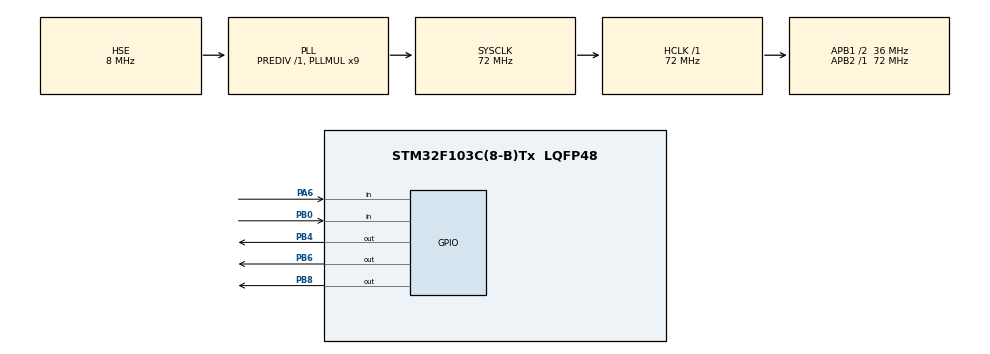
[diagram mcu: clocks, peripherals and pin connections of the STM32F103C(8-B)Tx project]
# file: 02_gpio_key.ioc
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Mcu.Family=STM32F1
Mcu.Name=STM32F103C(8-B)Tx
Mcu.Package=LQFP48
NVIC.PriorityGroup=NVIC_PRIORITYGROUP_4
PA13.Mode=Serial_Wire
PA13.Signal=SYS_JTMS-SWDIO
PA14.Mode=Serial_Wire
PA14.Signal=SYS_JTCK-SWCLK
PA6.GPIO_PuPd=GPIO_PULLUP
PA6.Signal=GPIO_Input
PB0.GPIO_PuPd=GPIO_PULLUP
PB0.Signal=GPIO_Input
PB4.PinState=GPIO_PIN_SET
PB4.Signal=GPIO_Output
PB6.PinState=GPIO_PIN_SET
PB6.Signal=GPIO_Output
PB8.PinState=GPIO_PIN_SET
PB8.Signal=GPIO_Output
PD0-OSC_IN.Mode=HSE-External-Oscillator
PD0-OSC_IN.Signal=RCC_OSC_IN
PD1-OSC_OUT.Mode=HSE-External-Oscillator
PD1-OSC_OUT.Signal=RCC_OSC_OUT
ProjectManager.HeapSize=0x200
ProjectManager.StackSize=0x400
ProjectManager.TargetToolchain=Makefile
RCC.AHBFreq_Value=72000000
RCC.APB1CLKDivider=RCC_HCLK_DIV2
RCC.APB1Freq_Value=36000000
RCC.APB1TimFreq_Value=72000000
RCC.APB2Freq_Value=72000000
RCC.APB2TimFreq_Value=72000000
RCC.HCLKFreq_Value=72000000
RCC.PLLMUL=RCC_PLL_MUL9
RCC.PLLSourceVirtual=RCC_PLLSOURCE_HSE
RCC.SYSCLKFreq_VALUE=72000000
RCC.SYSCLKSource=RCC_SYSCLKSOURCE_PLLCLK
RCC.USBFreq_Value=72000000
board=custom

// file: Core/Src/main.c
/* USER CODE BEGIN Header */
/**
  ******************************************************************************
  * @file           : main.c
  * @brief          : Main program body
  ******************************************************************************
  * @attention
  *
  * Copyright (c) 2026 STMicroelectronics.
  * All rights reserved.
  *
  * This software is licensed under terms that can be found in the LICENSE file
  * in the root directory of this software component.
  * If no LICENSE file comes with this software, it is provided AS-IS.
  *
  ******************************************************************************
  */
/* USER CODE END Header */
#include "main.h"
#include "gpio.h"

void SystemClock_Config(void);
/* USER CODE BEGIN PFP */
uint8_t Key_Nonblocking_Debounce_PA6(void);
uint8_t Key_Nonblocking_Debounce_PB0(void);
/* USER CODE END PFP */

int main(void)
{

  /* MCU Configuration--------------------------------------------------------*/

  /* Reset of all peripherals, Initializes the Flash interface and the Systick. */
  HAL_Init();

  /* Configure the system clock */
  SystemClock_Config();

  /* Initialize all configured peripherals */
  MX_GPIO_Init();

  /* Infinite loop */
  /* USER CODE BEGIN WHILE */
  while (1)
  {
    // LED闪烁(500ms翻转)的代码实现（为了避免LED太繁杂，闪烁效果的呈现
    // 需解除下列注释后将while里其他函数调用注释掉）
    // HAL_GPIO_WritePin(GPIOB,GPIO_PIN_8,SET);
    // HAL_Delay(500);
    // HAL_GPIO_TogglePin(GPIOB,GPIO_PIN_8);
    // HAL_Delay(500);
// 按下亮灭翻转+按下常亮的效果呈现
if(Key_Nonblocking_Debounce_PA6()==0){
  HAL_GPIO_WritePin(GPIOB,GPIO_PIN_6,SET);
}
else{HAL_GPIO_WritePin(GPIOB,GPIO_PIN_6,RESET);}
if(Key_Nonblocking_Debounce_PB0()==1){
  HAL_GPIO_TogglePin(GPIOB,GPIO_PIN_4);
}
    /* USER CODE END WHILE */

  }
}

void SystemClock_Config(void)
{
  RCC_OscInitTypeDef RCC_OscInitStruct = {0};
  RCC_ClkInitTypeDef RCC_ClkInitStruct = {0};

  /** Initializes the RCC Oscillators according to the specified parameters
  * in the RCC_OscInitTypeDef structure.
  */
  RCC_OscInitStruct.OscillatorType = RCC_OSCILLATORTYPE_HSE;
  RCC_OscInitStruct.HSEState = RCC_HSE_ON;
  RCC_OscInitStruct.HSEPredivValue = RCC_HSE_PREDIV_DIV1;
  RCC_OscInitStruct.HSIState = RCC_HSI_ON;
  RCC_OscInitStruct.PLL.PLLState = RCC_PLL_ON;
  RCC_OscInitStruct.PLL.PLLSource = RCC_PLLSOURCE_HSE;
  RCC_OscInitStruct.PLL.PLLMUL = RCC_PLL_MUL9;
  if (HAL_RCC_OscConfig(&RCC_OscInitStruct) != HAL_OK)
  {
    Error_Handler();
  }

  /** Initializes the CPU, AHB and APB buses clocks
  */
  RCC_ClkInitStruct.ClockType = RCC_CLOCKTYPE_HCLK|RCC_CLOCKTYPE_SYSCLK
                              |RCC_CLOCKTYPE_PCLK1|RCC_CLOCKTYPE_PCLK2;
  RCC_ClkInitStruct.SYSCLKSource = RCC_SYSCLKSOURCE_PLLCLK;
  RCC_ClkInitStruct.AHBCLKDivider = RCC_SYSCLK_DIV1;
  RCC_ClkInitStruct.APB1CLKDivider = RCC_HCLK_DIV2;
  RCC_ClkInitStruct.APB2CLKDivider = RCC_HCLK_DIV1;

  if (HAL_RCC_ClockConfig(&RCC_ClkInitStruct, FLASH_LATENCY_2) != HAL_OK)
  {
    Error_Handler();
  }
}

/* USER CODE BEGIN 4 */
// 软件消抖代码实现,返回1时引脚状态才会改变
uint8_t Key_Nonblocking_Debounce_PA6(void){
static uint32_t last_time=0;
// 对于上拉输入，定1为按键松开状态,0为按键按下状态
static uint8_t last_state=1;
uint32_t current_time=HAL_GetTick();
uint8_t current_state=HAL_GPIO_ReadPin(GPIOA,GPIO_PIN_6);
if(last_state!=current_state){
  if(current_time-last_time>20){
    last_state=current_state;
    last_time=current_time;
  }
}
else{last_time=current_time;return current_state;}
return last_state;
}

uint8_t Key_Nonblocking_Debounce_PB0(void){
static uint32_t last_time=0;
// 对于上拉输入，定1为按键松开状态,0为按键按下状态
static uint8_t last_state=1;
uint32_t current_time=HAL_GetTick();
uint8_t current_state=HAL_GPIO_ReadPin(GPIOB,GPIO_PIN_0);
if(last_state!=current_state){
  if(current_time-last_time>20){
    last_state=current_state;
    last_time=current_time;
    if(last_state==0){
      return 1;
    }
  }
}
else{last_time=current_time;}
return 0;
}

/* USER CODE END 4 */

void Error_Handler(void)
{
  __disable_irq();
  while (1)
  {
  }
}
